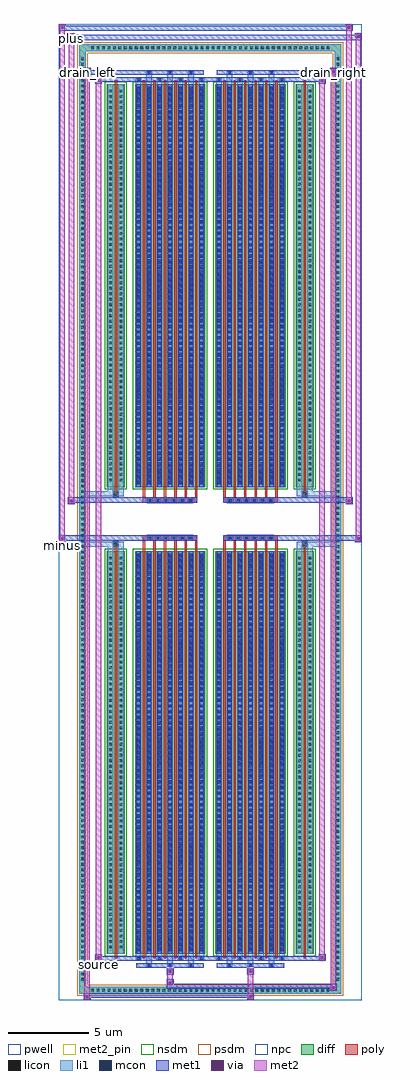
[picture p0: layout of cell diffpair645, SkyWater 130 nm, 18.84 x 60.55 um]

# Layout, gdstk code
import gdstk
lib = gdstk.Library(unit=1e-6, precision=5e-09)
def R(c, l, rs):  # rectangles x0, y0, x1, y1
    for r in rs: c.add(gdstk.rectangle(r[:2], r[2:], *l))
def A(c, l, x, y, w, h, nx, ny, dx, dy):  # array of equal rectangles
    R(c, l, [(x+i*dx, y+j*dy, x+i*dx+w, y+j*dy+h) for i in range(nx) for j in range(ny)])
def P(c, l, *ps):  # polygons
    for p in ps: c.add(gdstk.Polygon(p, *l))
pwell = (64, 44)
diff = (65, 20)
poly = (66, 20)
licon = (66, 44)
li1 = (67, 20)
mcon = (67, 44)
met1 = (68, 20)
via = (68, 44)
met2_pin = (69, 16)
met2 = (69, 20)
nsdm = (93, 44)
psdm = (94, 20)
npc = (95, 20)

diffpair645 = lib.new_cell('diffpair645')
R(diffpair645, pwell, [(-9.4,-29.84,9.4,30.71), (-6.72,-28.03,-0.01,-0.805), (0.01,-28.03,6.72,-0.805), (-6.72,0.805,-0.01,28.03), (0.01,0.805,6.72,28.03)])
A(diffpair645, diff, -7.515, -29.44, 0.41, 0.41, 44, 2, 0.34, 58.47)
A(diffpair645, diff, -8.13, -28.765, 0.41, 0.41, 1, 169, 0, 0.34)
A(diffpair645, diff, 7.72, -28.765, 0.41, 0.41, 1, 169, 0, 0.34)
R(diffpair645, diff, [(-7.515,-29.44,7.515,-29.03), (-8.13,-28.765,-7.72,28.765), (7.72,-28.765,8.13,28.765), (-6.41,-26.985,-5.31,-1.985), (-4.67,-26.985,-0.32,-1.985), (0.32,-26.985,4.67,-1.985), (5.31,-26.985,6.41,-1.985), (-6.41,1.985,-5.31,26.985), (-4.67,1.985,-0.32,26.985), (0.32,1.985,4.67,26.985), (5.31,1.985,6.41,26.985), (-7.515,29.03,7.515,29.44)])
P(diffpair645, diff, [(8.13,29.44),(-8.13,29.44),(-8.13,-29.03),(-7.72,-29.03),(-7.72,29.03),(7.72,29.03),(7.72,-29.03),(-7.72,-29.03),(-8.13,-29.03),(-8.13,-29.44),(8.13,-29.44)])
A(diffpair645, poly, -4.195, -27.235, 0.15, 25.5, 6, 2, 0.65, 28.97)
A(diffpair645, poly, 0.795, -27.235, 0.15, 25.5, 6, 2, 0.65, 28.97)
A(diffpair645, poly, -4.195, -1.735, 0.15, 0.4, 6, 2, 0.65, 3.07)
A(diffpair645, poly, 0.795, -1.735, 0.15, 0.4, 6, 2, 0.65, 3.07)
A(diffpair645, poly, -3.91, -1.335, 0.33, 0.33, 6, 2, 0.5, 2.34)
A(diffpair645, poly, 1.08, -1.335, 0.33, 0.33, 6, 2, 0.5, 2.34)
R(diffpair645, poly, [(-5.935,-27.235,-5.785,-1.735), (5.785,-27.235,5.935,-1.735), (-6.025,-1.735,-5.695,-1.405), (-6.025,-1.735,-5.695,-1.405), (5.695,-1.735,6.025,-1.405), (5.695,-1.735,6.025,-1.405), (-4.195,-1.335,-0.795,-1.005), (0.795,-1.335,4.195,-1.005), (-4.195,1.005,-0.795,1.335), (0.795,1.005,4.195,1.335), (-6.025,1.405,-5.695,1.735), (-6.025,1.405,-5.695,1.735), (5.695,1.405,6.025,1.735), (5.695,1.405,6.025,1.735), (-5.935,1.735,-5.785,27.235), (5.785,1.735,5.935,27.235)])
A(diffpair645, licon, -7.395, -29.32, 0.17, 0.17, 44, 2, 0.34, 58.47)
A(diffpair645, licon, -8.01, -28.645, 0.17, 0.17, 1, 169, 0, 0.34)
A(diffpair645, licon, 7.84, -28.645, 0.17, 0.17, 1, 169, 0, 0.34)
A(diffpair645, licon, -6.27, -26.64, 0.17, 0.17, 1, 72, 0, 0.34)
A(diffpair645, licon, -5.62, -26.64, 0.17, 0.17, 1, 72, 0, 0.34)
A(diffpair645, licon, -4.53, -26.64, 0.17, 0.17, 7, 72, 0.65, 0.34)
A(diffpair645, licon, 0.46, -26.64, 0.17, 0.17, 7, 72, 0.65, 0.34)
A(diffpair645, licon, 5.45, -26.64, 0.17, 0.17, 1, 72, 0, 0.34)
A(diffpair645, licon, 6.1, -26.64, 0.17, 0.17, 1, 72, 0, 0.34)
A(diffpair645, licon, -3.83, -1.255, 0.17, 0.17, 6, 2, 0.5, 2.34)
A(diffpair645, licon, 1.16, -1.255, 0.17, 0.17, 6, 2, 0.5, 2.34)
A(diffpair645, licon, -6.27, 2.33, 0.17, 0.17, 1, 72, 0, 0.34)
A(diffpair645, licon, -5.62, 2.33, 0.17, 0.17, 1, 72, 0, 0.34)
A(diffpair645, licon, -4.53, 2.33, 0.17, 0.17, 7, 72, 0.65, 0.34)
A(diffpair645, licon, 0.46, 2.33, 0.17, 0.17, 7, 72, 0.65, 0.34)
A(diffpair645, licon, 5.45, 2.33, 0.17, 0.17, 1, 72, 0, 0.34)
A(diffpair645, licon, 6.1, 2.33, 0.17, 0.17, 1, 72, 0, 0.34)
R(diffpair645, licon, [(-5.945,-1.655,-5.775,-1.485), (5.775,-1.655,5.945,-1.485), (-5.945,1.485,-5.775,1.655), (5.775,1.485,5.945,1.655)])
A(diffpair645, li1, -7.475, -29.4, 0.33, 0.33, 44, 2, 0.34, 58.47)
A(diffpair645, li1, -8.09, -28.725, 0.33, 0.33, 1, 169, 0, 0.34)
A(diffpair645, li1, 7.76, -28.725, 0.33, 0.33, 1, 169, 0, 0.34)
A(diffpair645, li1, -3.96, -27.79, 0.33, 0.805, 3, 2, 1.3, 54.775)
A(diffpair645, li1, -3.88, -27.79, 0.17, 0.17, 3, 2, 1.3, 55.41)
A(diffpair645, li1, 1.03, -27.79, 0.33, 0.805, 3, 2, 1.3, 54.775)
A(diffpair645, li1, 1.11, -27.79, 0.17, 0.17, 3, 2, 1.3, 55.41)
A(diffpair645, li1, -4.61, -27.36, 0.33, 0.375, 4, 2, 1.3, 54.345)
A(diffpair645, li1, -4.53, -27.36, 0.17, 0.17, 4, 2, 1.3, 54.55)
A(diffpair645, li1, 0.38, -27.36, 0.33, 0.375, 4, 2, 1.3, 54.345)
A(diffpair645, li1, 0.46, -27.36, 0.17, 0.17, 4, 2, 1.3, 54.55)
A(diffpair645, li1, -4.61, -26.985, 0.33, 25, 7, 2, 0.65, 28.97)
A(diffpair645, li1, 0.38, -26.985, 0.33, 25, 7, 2, 0.65, 28.97)
A(diffpair645, li1, -4.53, -26.81, 0.17, 0.17, 7, 69, 0.65, 0.36)
A(diffpair645, li1, -4.53, -26.81, 0.17, 24.65, 7, 2, 0.65, 28.97)
A(diffpair645, li1, 0.46, -26.81, 0.17, 0.17, 7, 69, 0.65, 0.36)
A(diffpair645, li1, 0.46, -26.81, 0.17, 24.65, 7, 2, 0.65, 28.97)
A(diffpair645, li1, -6.35, -26.72, 0.33, 0.33, 1, 72, 0, 0.34)
A(diffpair645, li1, -5.7, -26.72, 0.33, 0.33, 1, 72, 0, 0.34)
A(diffpair645, li1, -4.61, -26.72, 0.33, 0.33, 7, 72, 0.65, 0.34)
A(diffpair645, li1, 0.38, -26.72, 0.33, 0.33, 7, 72, 0.65, 0.34)
A(diffpair645, li1, 5.37, -26.72, 0.33, 0.33, 1, 72, 0, 0.34)
A(diffpair645, li1, 6.02, -26.72, 0.33, 0.33, 1, 72, 0, 0.34)
A(diffpair645, li1, -3.91, -1.335, 0.33, 0.33, 6, 2, 0.5, 2.34)
A(diffpair645, li1, 1.08, -1.335, 0.33, 0.33, 6, 2, 0.5, 2.34)
A(diffpair645, li1, -4.53, 2.16, 0.17, 0.17, 7, 69, 0.65, 0.36)
A(diffpair645, li1, 0.46, 2.16, 0.17, 0.17, 7, 69, 0.65, 0.36)
A(diffpair645, li1, -6.35, 2.25, 0.33, 0.33, 1, 72, 0, 0.34)
A(diffpair645, li1, -5.7, 2.25, 0.33, 0.33, 1, 72, 0, 0.34)
A(diffpair645, li1, -4.61, 2.25, 0.33, 0.33, 7, 72, 0.65, 0.34)
A(diffpair645, li1, 0.38, 2.25, 0.33, 0.33, 7, 72, 0.65, 0.34)
A(diffpair645, li1, 5.37, 2.25, 0.33, 0.33, 1, 72, 0, 0.34)
A(diffpair645, li1, 6.02, 2.25, 0.33, 0.33, 1, 72, 0, 0.34)
R(diffpair645, li1, [(-8.13,-29.44,-7.72,-29.03), (-8.13,-29.44,-7.72,-29.03), (-7.72,-29.44,7.72,-29.03), (7.72,-29.44,8.13,-29.03), (7.72,-29.44,8.13,-29.03), (-8.13,-29.03,-7.72,29.03), (7.72,-29.03,8.13,29.03), (-6.35,-26.985,-6.02,-1.985), (-5.7,-26.985,-5.37,-1.985), (5.37,-26.985,5.7,-1.985), (6.02,-26.985,6.35,-1.985), (-6.35,-1.985,-6.02,-1.405), (-5.7,-1.985,-5.37,-1.405), (5.37,-1.985,5.7,-1.405), (6.02,-1.985,6.35,-1.405), (-8.13,-1.735,-6.025,-1.405), (-6.35,-1.735,-6.025,-1.405), (-6.025,-1.735,-5.695,-1.405), (-5.695,-1.735,-5.37,-1.405), (5.37,-1.735,5.695,-1.405), (5.695,-1.735,6.025,-1.405), (5.695,-1.735,8.13,-1.405), (6.025,-1.735,6.35,-1.405), (-8.13,1.405,-6.025,1.735), (-6.35,1.405,-6.025,1.735), (-6.35,1.405,-6.02,1.985), (-6.025,1.405,-5.695,1.735), (-5.7,1.405,-5.37,1.985), (-5.695,1.405,-5.37,1.735), (5.37,1.405,5.695,1.735), (5.37,1.405,5.7,1.985), (5.695,1.405,6.025,1.735), (5.695,1.405,8.13,1.735), (6.02,1.405,6.35,1.985), (6.025,1.405,6.35,1.735), (-6.35,1.985,-6.02,26.985), (-5.7,1.985,-5.37,26.985), (5.37,1.985,5.7,26.985), (6.02,1.985,6.35,26.985), (-8.13,29.03,-7.72,29.44), (-8.13,29.03,-7.72,29.44), (-7.72,29.03,7.72,29.44), (7.72,29.03,8.13,29.44), (7.72,29.03,8.13,29.44)])
A(diffpair645, mcon, -3.88, -27.79, 0.17, 0.17, 3, 2, 1.3, 55.41)
A(diffpair645, mcon, 1.11, -27.79, 0.17, 0.17, 3, 2, 1.3, 55.41)
A(diffpair645, mcon, -4.53, -27.36, 0.17, 0.17, 4, 2, 1.3, 54.55)
A(diffpair645, mcon, 0.46, -27.36, 0.17, 0.17, 4, 2, 1.3, 54.55)
A(diffpair645, mcon, -4.53, -26.81, 0.17, 0.17, 7, 69, 0.65, 0.36)
A(diffpair645, mcon, 0.46, -26.81, 0.17, 0.17, 7, 69, 0.65, 0.36)
A(diffpair645, mcon, -3.83, -1.255, 0.17, 0.17, 6, 2, 0.5, 2.34)
A(diffpair645, mcon, 1.16, -1.255, 0.17, 0.17, 6, 2, 0.5, 2.34)
A(diffpair645, mcon, -4.53, 2.16, 0.17, 0.17, 7, 69, 0.65, 0.36)
A(diffpair645, mcon, 0.46, 2.16, 0.17, 0.17, 7, 69, 0.65, 0.36)
A(diffpair645, met1, -3.94, -27.85, 0.29, 0.29, 3, 2, 1.3, 55.41)
A(diffpair645, met1, 1.05, -27.85, 0.29, 0.29, 3, 2, 1.3, 55.41)
A(diffpair645, met1, -4.59, -27.42, 0.29, 0.29, 4, 2, 1.3, 54.55)
A(diffpair645, met1, 0.4, -27.42, 0.29, 0.29, 4, 2, 1.3, 54.55)
A(diffpair645, met1, -4.59, -26.985, 0.29, 25, 7, 2, 0.65, 28.97)
A(diffpair645, met1, 0.4, -26.985, 0.29, 25, 7, 2, 0.65, 28.97)
A(diffpair645, met1, -4.59, -26.87, 0.29, 0.29, 7, 69, 0.65, 0.36)
A(diffpair645, met1, 0.4, -26.87, 0.29, 0.29, 7, 69, 0.65, 0.36)
A(diffpair645, met1, -3.89, -1.315, 0.29, 0.29, 6, 2, 0.5, 2.34)
A(diffpair645, met1, 1.1, -1.315, 0.29, 0.29, 6, 2, 0.5, 2.34)
A(diffpair645, met1, -4.59, 2.1, 0.29, 0.29, 7, 69, 0.65, 0.36)
A(diffpair645, met1, 0.4, 2.1, 0.29, 0.29, 7, 69, 0.65, 0.36)
R(diffpair645, met1, [(-7.86,-29.84,-7.43,-29.41), (2.28,-29.84,2.71,-29.41), (-7.86,-29.7,2.71,-29.41), (7.43,-29.27,7.86,-28.84), (-2.71,-29.13,7.86,-28.84), (-2.71,-28.99,-2.28,-28.56), (-2.71,-28.28,-2.28,-27.85), (2.28,-28.28,2.71,-27.85), (-4.59,-27.85,-0.4,-27.56), (0.4,-27.85,4.59,-27.56), (-7.15,-27.42,-6.72,-26.99), (-7.15,-27.42,-4.59,-27.13), (-4.59,-27.42,-0.4,-27.13), (-0.4,-27.42,0.4,-27.13), (0.4,-27.42,4.59,-27.13), (4.59,-27.42,7.15,-27.13), (6.72,-27.42,7.15,-26.99), (-9.4,-1.435,-8.97,-1.005), (8.97,-1.435,9.4,-1.005), (-9.4,-1.335,-0.795,-1.005), (-4.195,-1.335,-0.795,-1.005), (0.795,-1.335,4.195,-1.005), (0.795,-1.335,9.4,-1.005), (-8.83,0.905,-8.4,1.335), (8.4,0.905,8.83,1.335), (-8.83,1.005,-4.195,1.335), (-4.195,1.005,-0.795,1.335), (0.795,1.005,4.195,1.335), (4.195,1.005,8.83,1.335), (-7.15,26.99,-6.72,27.42), (6.72,26.99,7.15,27.42), (-7.15,27.13,-4.59,27.42), (-4.59,27.13,-0.4,27.42), (-0.4,27.13,0.4,27.42), (0.4,27.13,4.59,27.42), (4.59,27.13,7.15,27.42), (-7.86,27.56,-7.43,27.99), (-7.86,27.56,-4.59,27.85), (-4.59,27.56,-0.4,27.85), (0.4,27.56,4.59,27.85), (4.59,27.56,7.86,27.85), (7.43,27.56,7.86,27.99), (-8.83,29.71,-8.4,30.14), (-8.83,29.71,-6.72,30.04), (-6.72,29.71,6.72,30.04), (6.72,29.71,9.4,30.04), (8.97,29.71,9.4,30.14), (-9.4,30.28,-8.97,30.71), (-9.4,30.28,-6.72,30.61), (-6.72,30.28,6.72,30.61), (6.72,30.28,8.83,30.61), (8.4,30.28,8.83,30.71)])
R(diffpair645, via, [(-7.72,-29.7,-7.57,-29.55), (2.42,-29.7,2.57,-29.55), (7.57,-29.13,7.72,-28.98), (-2.57,-28.85,-2.42,-28.7), (-2.57,-28.14,-2.42,-27.99), (2.42,-28.14,2.57,-27.99), (-7.01,-27.28,-6.86,-27.13), (6.86,-27.28,7.01,-27.13), (-9.26,-1.295,-9.11,-1.145), (9.11,-1.295,9.26,-1.145), (-8.69,1.045,-8.54,1.195), (8.54,1.045,8.69,1.195), (-7.01,27.13,-6.86,27.28), (6.86,27.13,7.01,27.28), (-7.72,27.7,-7.57,27.85), (7.57,27.7,7.72,27.85), (-8.69,29.85,-8.54,30), (9.11,29.85,9.26,30), (-9.26,30.42,-9.11,30.57), (8.54,30.42,8.69,30.57)])
R(diffpair645, met2_pin, [(-7.185,-27.87,-6.685,-27.37), (-9.435,-1.885,-8.935,-1.385), (-7.895,27.44,-7.395,27.94), (7.395,27.44,7.895,27.94), (-8.865,29.59,-8.365,30.09)])
R(diffpair645, met2, [(-7.81,-29.79,-7.48,-29.46), (-7.81,-29.79,-7.48,27.94), (2.33,-29.79,2.66,-29.46), (2.33,-29.46,2.66,-28.23), (7.48,-29.22,7.81,-28.89), (7.48,-29.22,7.81,27.94), (-2.66,-28.94,-2.33,-28.61), (-2.66,-28.61,-2.33,-28.23), (-2.66,-28.23,-2.33,-27.9), (2.33,-28.23,2.66,-27.9), (-7.1,-27.37,-6.77,-27.04), (-7.1,-27.37,-6.77,27.37), (6.77,-27.37,7.1,-27.04), (6.77,-27.37,7.1,27.37), (-9.35,-1.385,-9.02,-1.055), (-9.35,-1.385,-9.02,30.66), (9.02,-1.385,9.35,-1.055), (9.02,-1.385,9.35,30.09), (-8.78,0.955,-8.45,1.285), (-8.78,0.955,-8.45,30.09), (8.45,0.955,8.78,1.285), (8.45,0.955,8.78,30.66), (-7.1,27.04,-6.77,27.37), (6.77,27.04,7.1,27.37), (-7.81,27.61,-7.48,27.94), (7.48,27.61,7.81,27.94), (-8.78,29.76,-8.45,30.09), (9.02,29.76,9.35,30.09), (-9.35,30.33,-9.02,30.66), (8.45,30.33,8.78,30.66)])
P(diffpair645, met2, [(9.35,-1.385),(9.35,-1.385),(9.35,-1.055),(9.35,-1.055)],
  [(9.35,29.76),(9.35,29.76),(9.35,30.09),(9.35,30.09)],
  [(-9.02,-1.385),(-9.02,-1.385),(-9.02,-1.055),(-9.02,-1.055)],
  [(-9.02,30.33),(-9.02,30.33),(-9.02,30.66),(-9.02,30.66)],
  [(8.78,0.955),(8.78,0.955),(8.78,1.285),(8.78,1.285)],
  [(8.78,30.33),(8.78,30.33),(8.78,30.66),(8.78,30.66)],
  [(-8.45,0.955),(-8.45,0.955),(-8.45,1.285),(-8.45,1.285)],
  [(-8.45,29.76),(-8.45,29.76),(-8.45,30.09),(-8.45,30.09)],
  [(-7.48,-29.79),(-7.48,-29.79),(-7.48,-29.46),(-7.48,-29.46)],
  [(-7.48,27.61),(-7.48,27.61),(-7.48,27.94),(-7.48,27.94)],
  [(7.81,-29.22),(7.81,-29.22),(7.81,-28.89),(7.81,-28.89)],
  [(7.81,27.61),(7.81,27.61),(7.81,27.94),(7.81,27.94)],
  [(-6.77,-27.37),(-6.77,-27.37),(-6.77,-27.04),(-6.77,-27.04)],
  [(-6.77,27.04),(-6.77,27.04),(-6.77,27.37),(-6.77,27.37)],
  [(7.1,-27.37),(7.1,-27.37),(7.1,-27.04),(7.1,-27.04)],
  [(7.1,27.04),(7.1,27.04),(7.1,27.37),(7.1,27.37)])
R(diffpair645, nsdm, [(-6.54,-27.115,-5.18,-1.855), (-4.8,-27.115,-0.19,-1.855), (0.19,-27.115,4.8,-1.855), (5.18,-27.115,6.54,-1.855), (-6.54,1.855,-5.18,27.115), (-4.8,1.855,-0.19,27.115), (0.19,1.855,4.8,27.115), (5.18,1.855,6.54,27.115)])
P(diffpair645, psdm, [(8.26,29.57),(-8.26,29.57),(-8.26,-28.9),(-7.59,-28.9),(-7.59,28.9),(7.59,28.9),(7.59,-28.9),(-7.59,-28.9),(-8.26,-28.9),(-8.26,-29.57),(8.26,-29.57)])
A(diffpair645, npc, -3.93, -1.355, 0.37, 0.37, 6, 2, 0.5, 2.34)
A(diffpair645, npc, 1.06, -1.355, 0.37, 0.37, 6, 2, 0.5, 2.34)
R(diffpair645, npc, [(-6.045,-1.755,-5.675,-1.385), (5.675,-1.755,6.045,-1.385), (-3.93,-1.355,-3.06,-0.985), (-3.93,-1.355,-3.06,-0.985), (-3.43,-1.355,-2.56,-0.985), (-3.43,-1.355,-2.56,-0.985), (-2.93,-1.355,-2.06,-0.985), (-2.93,-1.355,-2.06,-0.985), (-2.43,-1.355,-1.56,-0.985), (-2.43,-1.355,-1.56,-0.985), (-1.93,-1.355,-1.06,-0.985), (-1.93,-1.355,-1.06,-0.985), (1.06,-1.355,1.93,-0.985), (1.06,-1.355,1.93,-0.985), (1.56,-1.355,2.43,-0.985), (1.56,-1.355,2.43,-0.985), (2.06,-1.355,2.93,-0.985), (2.06,-1.355,2.93,-0.985), (2.56,-1.355,3.43,-0.985), (2.56,-1.355,3.43,-0.985), (3.06,-1.355,3.93,-0.985), (3.06,-1.355,3.93,-0.985), (-3.93,0.985,-3.06,1.355), (-3.93,0.985,-3.06,1.355), (-3.43,0.985,-2.56,1.355), (-3.43,0.985,-2.56,1.355), (-2.93,0.985,-2.06,1.355), (-2.93,0.985,-2.06,1.355), (-2.43,0.985,-1.56,1.355), (-2.43,0.985,-1.56,1.355), (-1.93,0.985,-1.06,1.355), (-1.93,0.985,-1.06,1.355), (1.06,0.985,1.93,1.355), (1.06,0.985,1.93,1.355), (1.56,0.985,2.43,1.355), (1.56,0.985,2.43,1.355), (2.06,0.985,2.93,1.355), (2.06,0.985,2.93,1.355), (2.56,0.985,3.43,1.355), (2.56,0.985,3.43,1.355), (3.06,0.985,3.93,1.355), (3.06,0.985,3.93,1.355), (-6.045,1.385,-5.675,1.755), (5.675,1.385,6.045,1.755)])
diffpair645.add(gdstk.Label('minus', (-9.185,-1.635), layer=69, texttype=5))
diffpair645.add(gdstk.Label('drain_right', (7.645,27.69), layer=69, texttype=5))
diffpair645.add(gdstk.Label('drain_left', (-7.645,27.69), layer=69, texttype=5))
diffpair645.add(gdstk.Label('source', (-6.935,-27.62), layer=69, texttype=5))
diffpair645.add(gdstk.Label('plus', (-8.615,29.84), layer=69, texttype=5))

lib.write_gds('diffpair645.gds')
